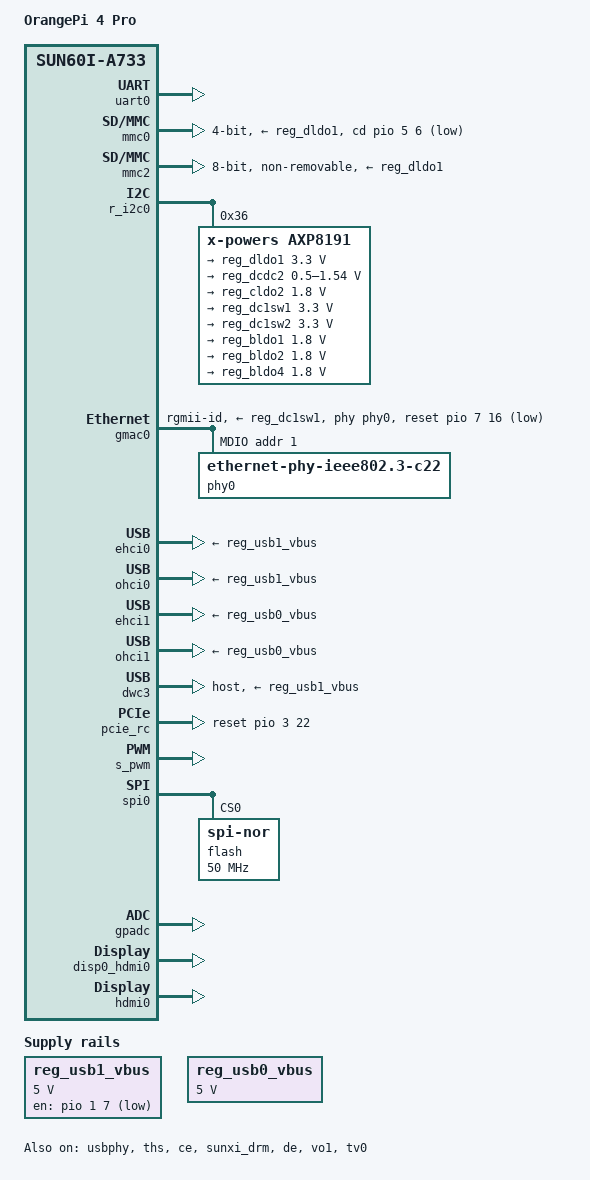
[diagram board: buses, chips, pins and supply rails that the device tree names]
// SPDX-License-Identifier: (GPL-2.0-only OR MIT)
/*
 * Copyright (C) 2026 Alastair D'Silva <alastair@d-silva.org>
 */

/dts-v1/;

#include "sun60i-a733.dtsi"

#include <dt-bindings/gpio/gpio.h>

/ {
	model = "OrangePi 4 Pro";
	compatible = "xunlong,orangepi-4-pro", "allwinner,sun60i-a733";

	aliases {
		ethernet0 = &gmac0;
		serial0 = &uart0;
		mmc0 = &mmc0;
		mmc2 = &mmc2;
	};

	chosen {
		stdout-path = "serial0:115200n8";

		framebuffer: framebuffer@0 {
			compatible = "allwinner,simple-framebuffer", "simple-framebuffer";
			status = "disabled";
		};
	};

	reg_usb1_vbus: regulator-usb1-vbus {
		compatible = "regulator-fixed";
		regulator-name = "usb1-vbus";
		regulator-min-microvolt = <5000000>;
		regulator-max-microvolt = <5000000>;
		gpios = <&pio 1 7 GPIO_ACTIVE_LOW>; /* PB7 */
		regulator-always-on;
		regulator-boot-on;
	};

	reg_usb0_vbus: regulator-usb0-vbus {
		compatible = "regulator-fixed";
		regulator-name = "usb0-vbus";
		regulator-min-microvolt = <5000000>;
		regulator-max-microvolt = <5000000>;
		regulator-always-on;
		regulator-boot-on;
	};
};

&uart0 {
	pinctrl-names = "default";
	pinctrl-0 = <&uart0_pb_pins>;
	status = "okay";
};

&mmc0 {
	pinctrl-names = "default";
	pinctrl-0 = <&mmc0_pins>;
	vmmc-supply = <&reg_dldo1>;
	cd-gpios = <&pio 5 6 GPIO_ACTIVE_LOW>; /* PF6 */
	broken-cd;
	bus-width = <4>;
	status = "okay";
};

&mmc2 {
	pinctrl-names = "default";
	pinctrl-0 = <&mmc2_pins>;
	vmmc-supply = <&reg_dldo1>;
	bus-width = <8>;
	non-removable;
	status = "okay";
};

&r_i2c0 {
	status = "okay";

	axp8191: pmic@36 {
		compatible = "x-powers,axp8191";
		reg = <0x36>;
		#address-cells = <1>;
		#size-cells = <0>;

		regulators {
			reg_dldo1: dldo1 {
				regulator-name = "vcc-sd";
				regulator-min-microvolt = <3300000>;
				regulator-max-microvolt = <3300000>;
				regulator-always-on;
				regulator-boot-on;
			};

			reg_dcdc2: dcdc2 {
				regulator-name = "axp8191-dcdc2";
				regulator-min-microvolt = <500000>;
				regulator-max-microvolt = <1540000>;
				regulator-always-on;
				regulator-boot-on;
			};

			reg_cldo2: cldo2 {
				regulator-name = "axp8191-cldo2";
				regulator-min-microvolt = <1800000>;
				regulator-max-microvolt = <1800000>;
				regulator-always-on;
				regulator-boot-on;
			};

			reg_dc1sw1: dc1sw1 {
				regulator-name = "vcc-ephy";
				regulator-min-microvolt = <3300000>;
				regulator-max-microvolt = <3300000>;
				regulator-always-on;
				regulator-boot-on;
			};

			reg_dc1sw2: dc1sw2 {
				regulator-name = "vcc-gmac-io";
				regulator-min-microvolt = <3300000>;
				regulator-max-microvolt = <3300000>;
				regulator-always-on;
				regulator-boot-on;
			};

			reg_bldo1: bldo1 {
				regulator-name = "vcc-pk";
				regulator-min-microvolt = <1800000>;
				regulator-max-microvolt = <1800000>;
				regulator-always-on;
				regulator-boot-on;
			};

			reg_bldo2: bldo2 {
				regulator-name = "vcc-pj";
				regulator-min-microvolt = <1800000>;
				regulator-max-microvolt = <1800000>;
				regulator-always-on;
				regulator-boot-on;
			};

			reg_bldo4: bldo4 {
				regulator-name = "vcc-1v8-audio";
				regulator-min-microvolt = <1800000>;
				regulator-max-microvolt = <1800000>;
				regulator-always-on;
				regulator-boot-on;
			};
		};
	};
};

&gmac0 {
	pinctrl-names = "default";
	pinctrl-0 = <&gmac0_pins>;
	phy-mode = "rgmii-id";
	phy-handle = <&phy0>;
	phy-supply = <&reg_dc1sw1>;
	dwmac-supply = <&reg_dc1sw2>;
	snps,reset-gpio = <&pio 7 16 GPIO_ACTIVE_LOW>; /* PH16 */
	snps,reset-delays-us = <0 10000 150000>;
	status = "okay";

	mdio0: mdio {
		phy0: ethernet-phy@1 {
			reg = <1>;
			compatible = "ethernet-phy-ieee802.3-c22";
		};
	};
};

&usbphy {
	usb0_vbus-supply = <&reg_usb1_vbus>;
	usb1_vbus-supply = <&reg_usb0_vbus>;
	status = "okay";
};

&ehci0 {
	vbus-supply = <&reg_usb1_vbus>;
	status = "okay";
};

&ohci0 {
	vbus-supply = <&reg_usb1_vbus>;
	status = "okay";
};

&ehci1 {
	vbus-supply = <&reg_usb0_vbus>;
	status = "okay";
};

&ohci1 {
	vbus-supply = <&reg_usb0_vbus>;
	status = "okay";
};

&dwc3 {
	vbus-supply = <&reg_usb1_vbus>;
	dr_mode = "host";
	status = "okay";
};

&pcie_rc {
	status = "okay";
	power-gpios = <&r_pio 0 3 GPIO_ACTIVE_HIGH>;
	reset-gpios = <&pio 3 22 GPIO_ACTIVE_HIGH>;
	wake-gpios = <&pio 3 21 GPIO_ACTIVE_HIGH>;
};

&s_pwm {
	status = "okay";
};

&spi0 {
	pinctrl-names = "default";
	pinctrl-0 = <&spi0_pc_pins>;
	status = "okay";

	flash@0 {
		compatible = "jedec,spi-nor";
		reg = <0>;
		spi-max-frequency = <50000000>;
	};
};

&ths {
	status = "okay";
};

&gpadc {
	status = "okay";
};

&ce {
	status = "okay";
};

&sunxi_drm {
	status = "okay";
};

&disp0_hdmi0 {
	enable = <1>;
	status = "okay";
	logo,uboot = "bootlogo.bmp";
};

&de {
	status = "okay";
};

&vo1 {
	status = "okay";
};

&tv0 {
	status = "okay";
};

&hdmi0 {
	dcdc2-supply = <&reg_dcdc2>;
	cldo2-supply = <&reg_cldo2>;
	hdmi_power0 = <&reg_dcdc2>;
	hdmi_power1 = <&reg_cldo2>;
	uhdmi_power_count = <2>;

	uhdmi_fast_output = <0>;
	uhdmi_resistor_select = <1>;

	snps_phy = <
		 25000 185625 0x0007 0x8160 0x8188
		185625 185625 0x0007 0x8160 0x8198
		185625 340000 0x0004 0x8040 0x8E85
		340000 600000 0x0000 0x80c0 0x82F6>;

	status = "okay";
};

